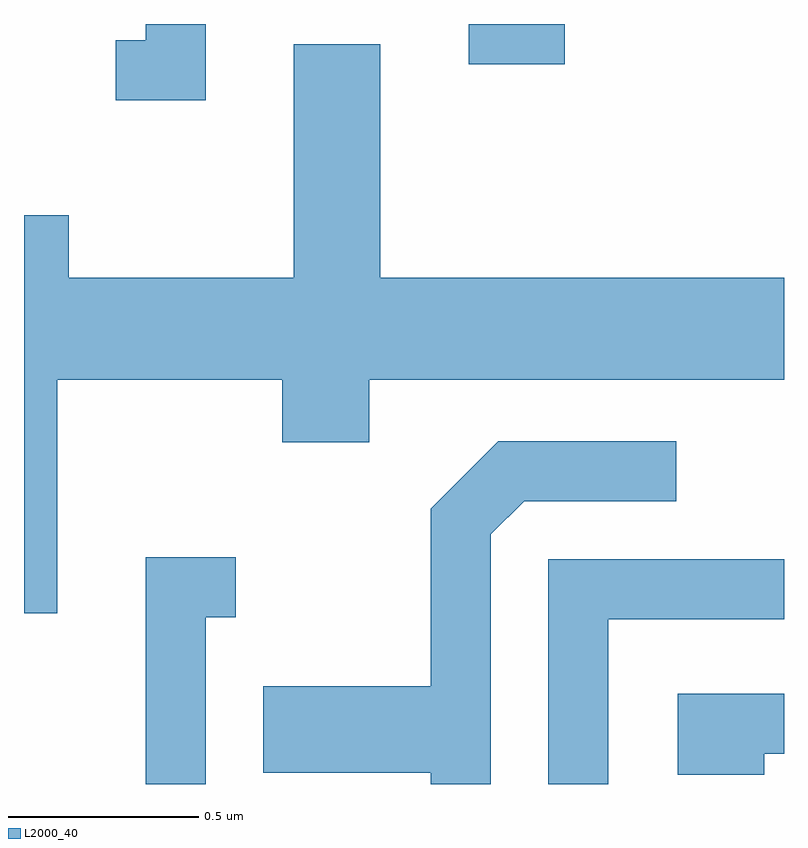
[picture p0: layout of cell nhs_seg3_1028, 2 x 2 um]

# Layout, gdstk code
import gdstk
lib = gdstk.Library(unit=1e-6, precision=1e-09)
def R(c, l, rs):  # rectangles x0, y0, x1, y1
    for r in rs: c.add(gdstk.rectangle(r[:2], r[2:], *l))
def P(c, l, *ps):  # polygons
    for p in ps: c.add(gdstk.Polygon(p, *l))
L2000_40 = (2000, 40)

nhs_seg3_1028 = lib.new_cell('nhs_seg3_1028')
R(nhs_seg3_1028, L2000_40, [(193.781,1186.786,194.034,1186.892)])
P(nhs_seg3_1028, L2000_40, [(193.089,1186.892),(192.931,1186.892),(192.931,1186.849),(192.853,1186.849),(192.853,1186.691),(193.089,1186.691)],
  [(192.699,1185.956),(193.291,1185.956),(193.291,1185.791),(193.519,1185.791),(193.519,1185.956),(194.611,1185.956),(194.611,1186.224),(193.549,1186.224),(193.549,1186.839),(193.321,1186.839),(193.321,1186.224),(192.729,1186.224),(192.729,1186.389),(192.611,1186.389),(192.611,1185.341),(192.699,1185.341)],
  [(193.839,1185.549),(193.927,1185.636),(194.328,1185.636),(194.328,1185.794),(193.859,1185.794),(193.681,1185.617),(193.681,1185.149),(193.241,1185.149),(193.241,1184.921),(193.681,1184.921),(193.681,1184.892),(193.839,1184.892)],
  [(193.089,1185.331),(193.168,1185.331),(193.168,1185.489),(192.931,1185.489),(192.931,1184.892),(193.089,1184.892)],
  [(194.149,1185.326),(194.611,1185.326),(194.611,1185.484),(193.991,1185.484),(193.991,1184.892),(194.149,1184.892)],
  [(194.559,1184.971),(194.611,1184.971),(194.611,1185.129),(194.331,1185.129),(194.331,1184.916),(194.559,1184.916)])

lib.write_gds('nhs_seg3_1028.gds')
